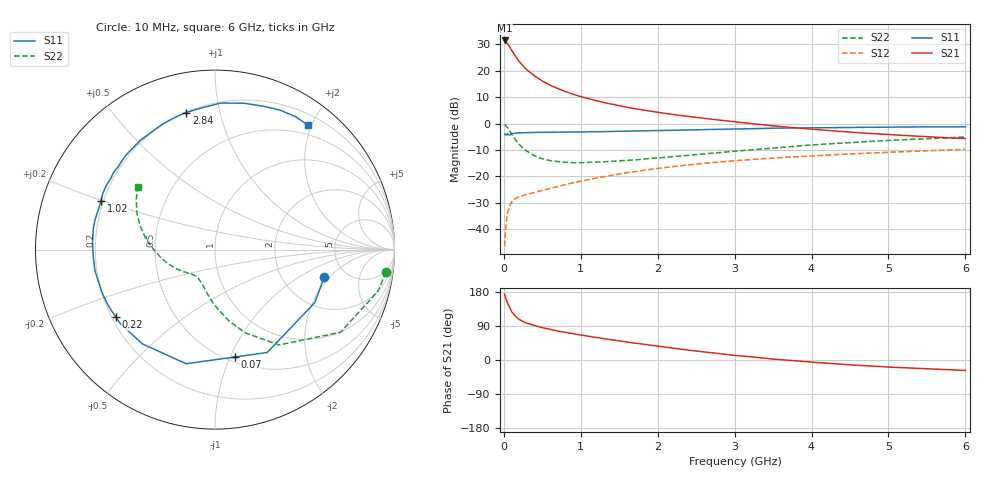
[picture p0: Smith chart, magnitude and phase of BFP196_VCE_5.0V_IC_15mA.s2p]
! Infineon Technologies  Discrete & RF Semiconductors
! BFP196
! VCE = 5.0 V,  IC =  15mA
! Common Emitter S-Parameters:  Jan 2016
# GHz  S  MA  R  50
!  f  S11  S21  S12  S22
! GHz  MAG  ANG  MAG  ANG  MAG  ANG  MAG  ANG
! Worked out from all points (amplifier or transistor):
!   210 points, 10 MHz to 6 GHz, reference 50 ohm
!   highest |S21| = 31.4 dB at 10 MHz (marker M1)
!   |S21| within 3 dB of that: start of sweep to 85.8 MHz
!   unconditionally stable (mu >= 1): 787.2 MHz to 3.438 GHz
!   at 185 MHz: K = 0.39, MSG = 26.0 dB, |S12| = -27.9 dB
!   at 1.52 GHz: K = 1.12, MAG = 10.7 dB, |S12| = -19.0 dB
!   at 6 GHz: K = 0.96, MSG = 2.1 dB, |S12| = -9.8 dB
!   S11 on the Smith chart (normalised r, x): 10 MHz: 3.42, -1.74; 70 MHz: 0.55, -1.04; 220 MHz: 0.22, -0.29; 1.02 GHz: 0.19, +0.20; 2.84 GHz: 0.20, +0.79; 6 GHz: 0.35, +1.95
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0.01  0.6275 -14.2  37.17 173.7  0.0048 83.5  0.9608 -7.5
0.02  0.6296 -28.0  36.12 165.9  0.0091 78.4  0.9371 -14.3
0.05  0.6429 -63.1  32.3 148.5  0.021 62.7  0.8375 -33.4
0.07  0.6084 -79.6  28.75 141.6  0.0254 55.4  0.7452 -41.0
0.1  0.6559 -104.2  24.48 127.8  0.0326 48.4  0.6398 -56.1
0.15  0.6632 -127.6  18.66 115.0  0.0383 41.4  0.4953 -69.8
0.2  0.6696 -141.9  14.89 106.9  0.0412 38.9  0.4029 -79.2
0.22  0.6681 -145.9  13.79 104.9  0.0422 38.2  0.3769 -81.7
0.26  0.6716 -153.4  11.8 100.4  0.0442 37.4  0.3314 -87.2
0.3  0.6735 -159.1  10.33 96.9  0.0458 37.9  0.2998 -91.9
0.4  0.6794 -170.0  7.908 90.6  0.0499 39.6  0.2453 -100.7
0.5  0.6796 -177.3  6.35 85.4  0.0542 41.7  0.2156 -107.1
0.6  0.6837 176.4  5.323 80.7  0.0595 43.6  0.1997 -112.2
0.7  0.6877 170.9  4.588 76.4  0.0644 45.2  0.1905 -116.6
1.02  0.6905 156.9  3.167 65.3  0.0824 48.2  0.1818 -126.6
1.4  0.7096 142.8  2.317 53.5  0.1045 48.5  0.1917 -135.1
2.02  0.7379 123.8  1.613 36.1  0.1427 44.8  0.2242 -148.7
2.84  0.7803 101.8  1.144 15.9  0.1895 36.7  0.285 -166.7
3.1  0.7912 95.9  1.04 10.4  0.203 33.6  0.3073 -172.4
4.1  0.8324 77.4  0.76 -7.1  0.2485 22.5  0.4018 168.6
5.1  0.8583 63.7  0.606 -19.5  0.2901 11.4  0.4868 153.5
6  0.8658 53.2  0.52 -27.6  0.324 1.2  0.5551 140.9
